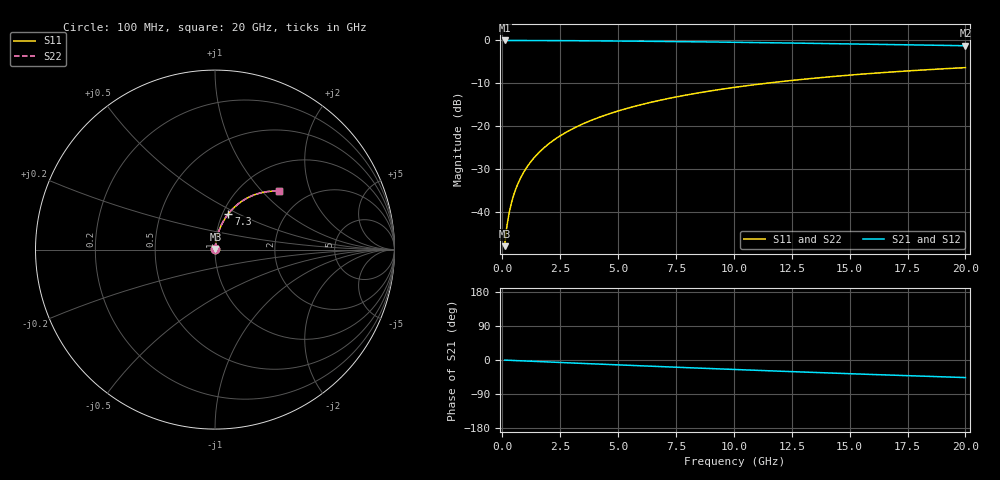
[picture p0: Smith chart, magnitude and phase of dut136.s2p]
! Touchstone file exported from HFSS 2026.1.0
!  File:  C:/ffzhzh/LocalFiles/Ansys_Project_Files/temp_train_BSMRDL_136_1782986317_40604.aedt
!  Generated:  06:00:10 PM Jul  2, 2026
!  Design:  BSMRDL
!  Project:  temp_train_BSMRDL_136_1782986317_40604
! Variables:
!  h_bsmrdl = 5.74um
!  h_ox = 20um
!  h_rdl = 5um
!  h_sub = 80um
!  h_tmrdl = 5um
!  h_tsv = 80um
!  h_via = 3um
!  l_bsmrdl = 643.34um
!  l_sub = 1043.34um
!  l_tmrdl = 200um
!  m_sub = 200um
!  pitch = 58.79um
!  r_tsv = 6um
!  s_tmrdl = 10um
!  w_bsmrdl = 17.75um
!  w_sub = 500um
!  w_tmrdl = 12um
!  x_tsv_center1 = 206um
!  x_tsv_center2 = 867.09um
!  x_tsv_center3 = 1079.09um
!  x_tsv_center4 = 1740.18um
!  x_tsv_center5 = 1952.18um
!  x_tsv_center6 = 2613.27um
# GHz S MA R 50.000000
! Terminal data exported
! Port[1] = BSM_RDL1_1_T1
! Port[2] = BSM_RDL1_1_T2
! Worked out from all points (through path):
!   200 points, 100 MHz to 20 GHz, reference 50 ohm
!   highest |S21| = -0.02 dB at 100 MHz (marker M1); lowest = -1.2 dB at 20 GHz (marker M2)
!   group delay of S21, straight-line fit = 6.44 ps
!   lowest |S11| = -47.9 dB at 100 MHz (marker M3), VSWR 1.01, Z = 50.2 + j0.327 ohm
!   |S11| at or under -10 dB: start of sweep to 11.39 GHz
!   |S22| runs from -47.9 to -6.3 dB; largest |S21 - S12| = 2.4e-14
!   S11 on the Smith chart (normalised r, x): 100 MHz: 1.00, +0.01; 7.3 GHz: 1.07, +0.45; 20 GHz: 1.47, +1.25
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0.1  0.004015 54.1  0.9977 -0.3  0.9977 -0.3  0.004015 54.1
! Gamma 0 0 0 0
! Port Impedance 50 0 50 0
0.2  0.006909 68.8  0.9975 -0.5  0.9975 -0.5  0.006909 68.8
0.3  0.009939 74.4  0.9974 -0.8  0.9974 -0.8  0.009939 74.4
0.4  0.01299 77.3  0.9973 -1.1  0.9973 -1.1  0.01299 77.3
0.5  0.01606 79.1  0.9972 -1.3  0.9972 -1.3  0.01606 79.1
0.7  0.02222 80.9  0.997 -1.9  0.997 -1.9  0.02222 80.9
0.8  0.02531 81.4  0.9969 -2.1  0.9969 -2.1  0.02531 81.4
1  0.03148 82.0  0.9966 -2.6  0.9966 -2.6  0.03148 82.0
1.2  0.03766 82.2  0.9963 -3.2  0.9963 -3.2  0.03766 82.2
1.4  0.04382 82.1  0.9959 -3.7  0.9959 -3.7  0.04382 82.1
1.7  0.05303 81.9  0.9952 -4.5  0.9952 -4.5  0.05303 81.9
2  0.0622 81.4  0.9945 -5.3  0.9945 -5.3  0.0622 81.4
2.7  0.08337 80.0  0.9923 -7.1  0.9923 -7.1  0.08337 80.0
3.5  0.1072 78.3  0.9894 -9.1  0.9894 -9.1  0.1072 78.3
4.2  0.1276 76.7  0.9864 -10.9  0.9864 -10.9  0.1276 76.6
5  0.1505 74.8  0.9826 -12.9  0.9826 -12.9  0.1505 74.8
6.8  0.2005 70.6  0.9725 -17.4  0.9725 -17.4  0.2005 70.6
7.3  0.2139 69.4  0.9694 -18.6  0.9694 -18.6  0.2139 69.4
10.1  0.2855 63.1  0.9498 -25.2  0.9498 -25.2  0.2855 63.1
13.4  0.3611 55.8  0.9231 -32.7  0.9231 -32.7  0.3611 55.8
16.7  0.4264 48.9  0.8946 -39.7  0.8946 -39.7  0.4264 48.9
20  0.4816 42.5  0.8662 -46.3  0.8662 -46.3  0.4816 42.5
